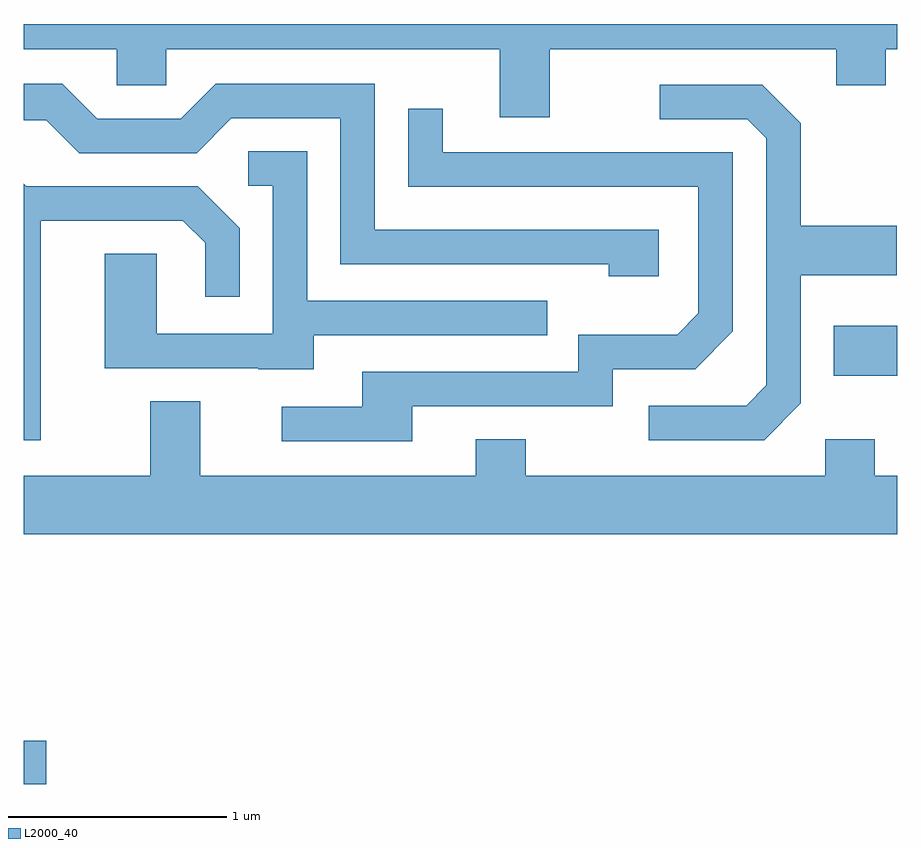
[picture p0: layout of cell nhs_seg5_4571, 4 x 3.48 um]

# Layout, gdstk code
import gdstk
lib = gdstk.Library(unit=1e-6, precision=1e-09)
def R(c, l, rs):  # rectangles x0, y0, x1, y1
    for r in rs: c.add(gdstk.rectangle(r[:2], r[2:], *l))
def P(c, l, *ps):  # polygons
    for p in ps: c.add(gdstk.Polygon(p, *l))
L2000_40 = (2000, 40)

nhs_seg5_4571 = lib.new_cell('nhs_seg5_4571')
R(nhs_seg5_4571, L2000_40, [(321.611,1404.591,321.714,1404.789), (325.321,1406.461,325.611,1406.689)])
P(nhs_seg5_4571, L2000_40, [(324.019,1407.956),(325.331,1407.956),(325.331,1407.791),(325.559,1407.791),(325.559,1407.956),(325.611,1407.956),(325.611,1408.072),(321.611,1408.072),(321.611,1407.956),(322.036,1407.956),(322.036,1407.791),(322.264,1407.791),(322.264,1407.956),(323.791,1407.956),(323.791,1407.646),(324.019,1407.646)],
  [(324.519,1407.129),(323.219,1407.129),(323.219,1407.799),(322.489,1407.799),(322.329,1407.639),(321.947,1407.639),(321.787,1407.799),(321.611,1407.799),(321.611,1407.631),(321.714,1407.631),(321.864,1407.481),(322.402,1407.481),(322.562,1407.641),(323.061,1407.641),(323.061,1406.971),(324.291,1406.971),(324.291,1406.916),(324.519,1406.916)],
  [(325.169,1406.334),(325.169,1406.921),(325.609,1406.921),(325.609,1407.149),(325.169,1407.149),(325.169,1407.617),(324.992,1407.794),(324.523,1407.794),(324.523,1407.636),(324.924,1407.636),(325.011,1407.549),(325.011,1406.417),(324.919,1406.324),(324.473,1406.324),(324.473,1406.166),(325.002,1406.166)],
  [(323.389,1406.321),(324.309,1406.321),(324.309,1406.491),(324.687,1406.491),(324.859,1406.664),(324.859,1407.484),(323.529,1407.484),(323.529,1407.683),(323.371,1407.683),(323.371,1407.326),(324.701,1407.326),(324.701,1406.747),(324.604,1406.649),(324.151,1406.649),(324.151,1406.479),(323.161,1406.479),(323.161,1406.319),(322.793,1406.319),(322.793,1406.161),(323.389,1406.161)],
  [(322.939,1406.646),(324.008,1406.646),(324.008,1406.804),(322.909,1406.804),(322.909,1407.489),(322.638,1407.489),(322.638,1407.331),(322.751,1407.331),(322.751,1406.654),(322.219,1406.654),(322.219,1407.019),(321.981,1407.019),(321.981,1406.496),(322.685,1406.496),(322.685,1406.491),(322.939,1406.491)],
  [(321.689,1407.171),(322.339,1407.171),(322.441,1407.069),(322.441,1406.823),(322.599,1406.823),(322.599,1407.137),(322.407,1407.329),(321.622,1407.329),(321.611,1407.34),(321.611,1406.166),(321.689,1406.166)],
  [(325.611,1406.004),(325.509,1406.004),(325.509,1406.169),(325.281,1406.169),(325.281,1406.004),(323.909,1406.004),(323.909,1406.169),(323.681,1406.169),(323.681,1406.004),(322.419,1406.004),(322.419,1406.344),(322.191,1406.344),(322.191,1406.004),(321.611,1406.004),(321.611,1405.736),(325.611,1405.736)])

lib.write_gds('nhs_seg5_4571.gds')
